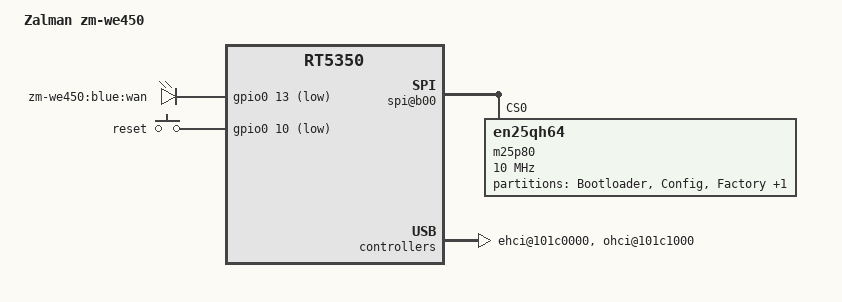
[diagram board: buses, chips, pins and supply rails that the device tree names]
/dts-v1/;

/include/ "rt5350.dtsi"

/ {
	compatible = "ZM-WE450", "ralink,rt5350-soc";
	model = "Zalman zm-we450";

	chosen {
		bootargs = "console=ttyS0,57600n8 root=/dev/mtdblock5";
	};

	palmbus@10000000 {
		spi@b00 {
			status = "okay";
			m25p80@0 {
				#address-cells = <1>;
				#size-cells = <1>;
				compatible = "en25qh64";
				reg = <0 0>;
				linux,modalias = "m25p80", "en25qh64";
				spi-max-frequency = <10000000>;

				partition@0 {
					label = "Bootloader";
					reg = <0x0 0x30000>;
					read-only;
				};

				partition@30000 {
					label = "Config";
					reg = <0x30000 0x10000>;
					read-only;
				};

				factory: partition@40000 {
					label = "Factory";
					reg = <0x40000 0x10000>;
					read-only;
				};

				partition@50000 {
					label = "firmware";
					reg = <0x50000 0x7b0000>;
				};
			};
		};
	};

	pinctrl {
		state_default: pinctrl0 {
			gpio {
				ralink,group = "i2c", "uartf";
				ralink,function = "gpio";
			};
		};
	};

	gpio-leds {
		compatible = "gpio-leds";
		wifi {
			label = "zm-we450:blue:wan";
			gpios = <&gpio0 13 1>;
		};
	};

	gpio-keys-polled {
		compatible = "gpio-keys-polled";
		#address-cells = <1>;
		#size-cells = <0>;
		poll-interval = <20>;
		reset {
			label = "reset";
			gpios = <&gpio0 10 1>;
			linux,code = <0x198>;
		};
	};

	ethernet@10100000 {
		mtd-mac-address = <&factory 0x28>;
	};

	esw@10110000 {
		ralink,portmap = <0x2f>;
	};

	ehci@101c0000 {
		status = "okay";
	};

	ohci@101c1000 {
		status = "okay";
	};

	wmac@10180000 {
		ralink,mtd-eeprom = <&factory 0x0>;
	};
};
